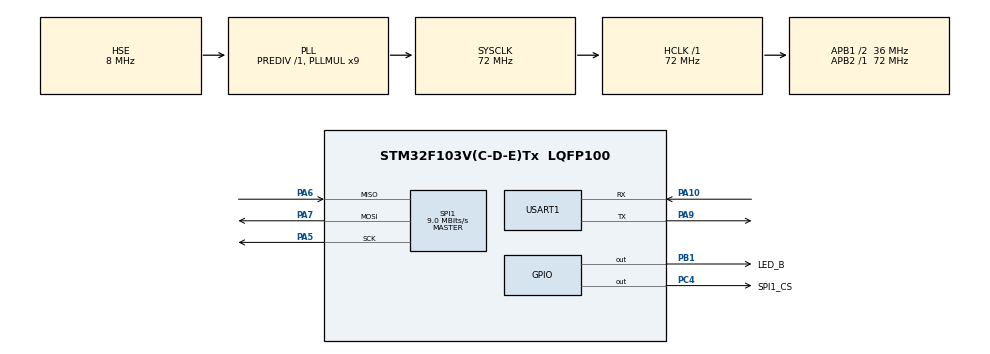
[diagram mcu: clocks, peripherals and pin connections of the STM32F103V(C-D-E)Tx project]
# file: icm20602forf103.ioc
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Mcu.Family=STM32F1
Mcu.Name=STM32F103V(C-D-E)Tx
Mcu.Package=LQFP100
NVIC.PriorityGroup=NVIC_PRIORITYGROUP_4
OSC_IN.Mode=HSE-External-Oscillator
OSC_IN.Signal=RCC_OSC_IN
OSC_OUT.Mode=HSE-External-Oscillator
OSC_OUT.Signal=RCC_OSC_OUT
PA10.Mode=Asynchronous
PA10.Signal=USART1_RX
PA13.Mode=Serial_Wire
PA13.Signal=SYS_JTMS-SWDIO
PA14.Mode=Serial_Wire
PA14.Signal=SYS_JTCK-SWCLK
PA5.Mode=Full_Duplex_Master
PA5.Signal=SPI1_SCK
PA6.Mode=Full_Duplex_Master
PA6.Signal=SPI1_MISO
PA7.Mode=Full_Duplex_Master
PA7.Signal=SPI1_MOSI
PA9.Mode=Asynchronous
PA9.Signal=USART1_TX
PB1.GPIO_Label=LED_B
PB1.PinState=GPIO_PIN_SET
PB1.Signal=GPIO_Output
PC4.GPIO_Label=SPI1_CS
PC4.Signal=GPIO_Output
ProjectManager.HeapSize=0x200
ProjectManager.StackSize=0x400
ProjectManager.TargetToolchain=MDK-ARM V5.27
RCC.AHBFreq_Value=72000000
RCC.APB1CLKDivider=RCC_HCLK_DIV2
RCC.APB1Freq_Value=36000000
RCC.APB1TimFreq_Value=72000000
RCC.APB2Freq_Value=72000000
RCC.APB2TimFreq_Value=72000000
RCC.HCLKFreq_Value=72000000
RCC.PLLMUL=RCC_PLL_MUL9
RCC.PLLSourceVirtual=RCC_PLLSOURCE_HSE
RCC.SYSCLKFreq_VALUE=72000000
RCC.SYSCLKSource=RCC_SYSCLKSOURCE_PLLCLK
RCC.USBFreq_Value=72000000
SPI1.BaudRatePrescaler=SPI_BAUDRATEPRESCALER_8
SPI1.CLKPhase=SPI_PHASE_2EDGE
SPI1.CLKPolarity=SPI_POLARITY_HIGH
SPI1.CalculateBaudRate=9.0 MBits/s
SPI1.Direction=SPI_DIRECTION_2LINES
SPI1.Mode=SPI_MODE_MASTER
SPI1.VirtualType=VM_MASTER
USART1.VirtualMode=VM_ASYNC
board=custom

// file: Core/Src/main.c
/* USER CODE BEGIN Header */
/**
  ******************************************************************************
  * @file           : main.c
  * @brief          : Main program body
  ******************************************************************************
  * @attention
  *
  * <h2><center>&copy; Copyright (c) 2021 STMicroelectronics.
  * All rights reserved.</center></h2>
  *
  * This software component is licensed by ST under BSD 3-Clause license,
  * the "License"; You may not use this file except in compliance with the
  * License. You may obtain a copy of the License at:
  *                        opensource.org/licenses/BSD-3-Clause
  *
  ******************************************************************************
  */
/* USER CODE END Header */
#include "main.h"
#include "spi.h"
#include "usart.h"
#include "gpio.h"

/* USER CODE BEGIN Includes */

#include <stdio.h>
#include "icm20602.h"
#include "attitude_solution.h"

/* USER CODE END Includes */

/* USER CODE BEGIN PM */

extern eulerianAngles_t eulerAngle;
/* USER CODE END PM */

void SystemClock_Config(void);

/* USER CODE BEGIN 0 */

int fputc(int ch, FILE* f) {
	uint8_t temp[1] = {ch};
	HAL_UART_Transmit(&huart1, temp, 1, 2);  // huart1以usart.c中生成的为准
	return ch;
}

/* USER CODE END 0 */

int main(void)
{

  /* MCU Configuration--------------------------------------------------------*/

  /* Reset of all peripherals, Initializes the Flash interface and the Systick. */
  HAL_Init();

  /* Configure the system clock */
  SystemClock_Config();

  /* Initialize all configured peripherals */
  MX_GPIO_Init();
  MX_USART1_UART_Init();
  MX_SPI1_Init();
  /* USER CODE BEGIN 2 */
	HAL_GPIO_WritePin(LED_B_GPIO_Port, LED_B_Pin, GPIO_PIN_RESET);
	HAL_Delay(500);
	HAL_GPIO_WritePin(LED_B_GPIO_Port, LED_B_Pin, GPIO_PIN_SET);

	icm20602_init_spi();

	printf("init\n");
  /* USER CODE END 2 */

  /* Infinite loop */
  while (1)
  {

    /* USER CODE BEGIN 3 */

		get_icm20602_accdata_spi();
		get_icm20602_gyro_spi();
//
//		printf("icm_acc: %d,%d,%d\n", icm_acc_x,icm_acc_y,icm_acc_z);
//		printf("icm_gyro: %d,%d,%d\n", icm_gyro_x,icm_gyro_y,icm_gyro_z);

		IMU_quaterToEulerianAngles();  // 获取欧拉角
		printf("%.2f,%.2f,%.2f\n", eulerAngle.pitch, eulerAngle.roll, eulerAngle.yaw);

		//printf("%.2f,%.2f,%.2f\n\n", values[0], values[1], values[2]);

		HAL_Delay(5);

  }
  /* USER CODE END 3 */
}

void SystemClock_Config(void)
{
  RCC_OscInitTypeDef RCC_OscInitStruct = {0};
  RCC_ClkInitTypeDef RCC_ClkInitStruct = {0};

  /** Initializes the RCC Oscillators according to the specified parameters
  * in the RCC_OscInitTypeDef structure.
  */
  RCC_OscInitStruct.OscillatorType = RCC_OSCILLATORTYPE_HSE;
  RCC_OscInitStruct.HSEState = RCC_HSE_ON;
  RCC_OscInitStruct.HSEPredivValue = RCC_HSE_PREDIV_DIV1;
  RCC_OscInitStruct.HSIState = RCC_HSI_ON;
  RCC_OscInitStruct.PLL.PLLState = RCC_PLL_ON;
  RCC_OscInitStruct.PLL.PLLSource = RCC_PLLSOURCE_HSE;
  RCC_OscInitStruct.PLL.PLLMUL = RCC_PLL_MUL9;
  if (HAL_RCC_OscConfig(&RCC_OscInitStruct) != HAL_OK)
  {
    Error_Handler();
  }
  /** Initializes the CPU, AHB and APB buses clocks
  */
  RCC_ClkInitStruct.ClockType = RCC_CLOCKTYPE_HCLK|RCC_CLOCKTYPE_SYSCLK
                              |RCC_CLOCKTYPE_PCLK1|RCC_CLOCKTYPE_PCLK2;
  RCC_ClkInitStruct.SYSCLKSource = RCC_SYSCLKSOURCE_PLLCLK;
  RCC_ClkInitStruct.AHBCLKDivider = RCC_SYSCLK_DIV1;
  RCC_ClkInitStruct.APB1CLKDivider = RCC_HCLK_DIV2;
  RCC_ClkInitStruct.APB2CLKDivider = RCC_HCLK_DIV1;

  if (HAL_RCC_ClockConfig(&RCC_ClkInitStruct, FLASH_LATENCY_2) != HAL_OK)
  {
    Error_Handler();
  }
}

void Error_Handler(void)
{
  __disable_irq();
  while (1)
  {
  }
}

/************************ (C) COPYRIGHT STMicroelectronics *****END OF FILE****/
